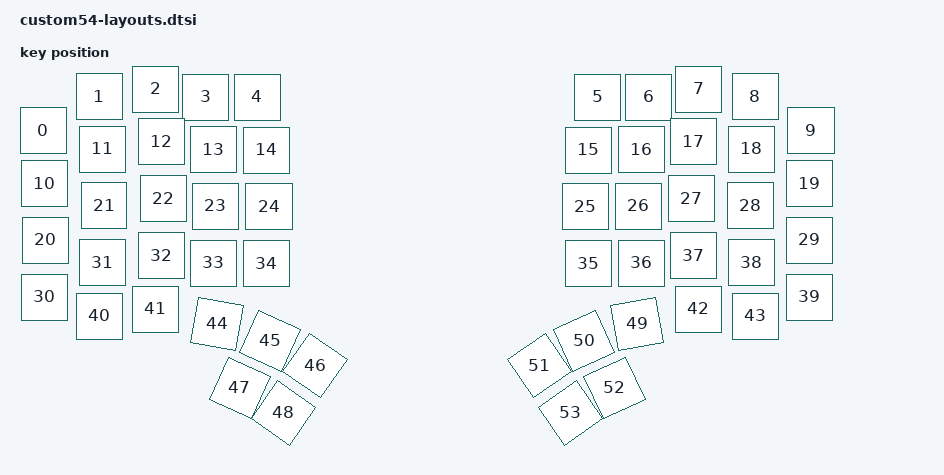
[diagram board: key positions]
#include <physical_layouts.dtsi>

/ {
    default_layout: default_layout {
        compatible = "zmk,physical-layout";
        display-name = "Default Layout";
        transform = <&default_transform>;
        kscan = <&kscan>;

        keys
            = <&key_physical_attrs 100 100    0   83       0    0    0>  /*  0: 1 */
            , <&key_physical_attrs 100 100  112   15       0    0    0>  /*  1: 2 */
            , <&key_physical_attrs 100 100  225    0       0    0    0>  /*  2: 3 */
            , <&key_physical_attrs 100 100  325   16       0    0    0>  /*  3: 4 */
            , <&key_physical_attrs 100 100  428   16       0    0    0>  /*  4: 5 */
            , <&key_physical_attrs 100 100 1109   16       0    0    0>  /*  5: 6 */
            , <&key_physical_attrs 100 100 1211   16       0    0    0>  /*  6: 7 */
            , <&key_physical_attrs 100 100 1311    0       0    0    0>  /*  7: 8 */
            , <&key_physical_attrs 100 100 1424   15       0    0    0>  /*  8: 9 */
            , <&key_physical_attrs 100 100 1536   83       0    0    0>  /*  9: 0 */
            , <&key_physical_attrs 100 100    3  189       0    0    0>  /* 10: q */
            , <&key_physical_attrs 100 100  119  120       0    0    0>  /* 11: w */
            , <&key_physical_attrs 100 100  236  105       0    0    0>  /* 12: e */
            , <&key_physical_attrs 100 100  340  121       0    0    0>  /* 13: r */
            , <&key_physical_attrs 100 100  446  122       0    0    0>  /* 14: t */
            , <&key_physical_attrs 100 100 1091  122       0    0    0>  /* 15: y */
            , <&key_physical_attrs 100 100 1196  121       0    0    0>  /* 16: u */
            , <&key_physical_attrs 100 100 1300  105       0    0    0>  /* 17: i */
            , <&key_physical_attrs 100 100 1417  120       0    0    0>  /* 18: o */
            , <&key_physical_attrs 100 100 1533  189       0    0    0>  /* 19: p */
            , <&key_physical_attrs 100 100    5  302       0    0    0>  /* 20: a */
            , <&key_physical_attrs 100 100  122  233       0    0    0>  /* 21: s */
            , <&key_physical_attrs 100 100  240  219       0    0    0>  /* 22: d */
            , <&key_physical_attrs 100 100  345  234       0    0    0>  /* 23: f */
            , <&key_physical_attrs 100 100  452  235       0    0    0>  /* 24: g */
            , <&key_physical_attrs 100 100 1084  235       0    0    0>  /* 25: h */
            , <&key_physical_attrs 100 100 1191  234       0    0    0>  /* 26: j */
            , <&key_physical_attrs 100 100 1296  219       0    0    0>  /* 27: k */
            , <&key_physical_attrs 100 100 1415  233       0    0    0>  /* 28: l */
            , <&key_physical_attrs 100 100 1532  302       0    0    0>  /* 29: ç */
            , <&key_physical_attrs 100 100    3  416       0    0    0>  /* 30: z */
            , <&key_physical_attrs 100 100  119  347       0    0    0>  /* 31: x */
            , <&key_physical_attrs 100 100  236  333       0    0    0>  /* 32: c */
            , <&key_physical_attrs 100 100  340  348       0    0    0>  /* 33: v */
            , <&key_physical_attrs 100 100  446  349       0    0    0>  /* 34: b */
            , <&key_physical_attrs 100 100 1091  349       0    0    0>  /* 35: n */
            , <&key_physical_attrs 100 100 1196  348       0    0    0>  /* 36: m */
            , <&key_physical_attrs 100 100 1300  333       0    0    0>  /* 37: , */
            , <&key_physical_attrs 100 100 1417  347       0    0    0>  /* 38: . */
            , <&key_physical_attrs 100 100 1533  416       0    0    0>  /* 39: - */
            , <&key_physical_attrs 100 100  112  454       0    0    0>  /* 40: left extra 1 */
            , <&key_physical_attrs 100 100  225  440       0    0    0>  /* 41: left extra 2 */
            , <&key_physical_attrs 100 100 1311  440       0    0    0>  /* 42: right extra 1 */
            , <&key_physical_attrs 100 100 1424  454       0    0    0>  /* 43: right extra 2 */
            , <&key_physical_attrs 100 100  348  470    1000  398  520>  /* 44: left thumb 1 */
            , <&key_physical_attrs 100 100  454  504    2500  504  554>  /* 45: left thumb 2 */
            , <&key_physical_attrs 100 100  544  553    3500  594  603>  /* 46: left thumb 3 */
            , <&key_physical_attrs 100 100  394  598    2500  444  648>  /* 47: left thumb 4 */
            , <&key_physical_attrs 100 100  481  648    3500  531  698>  /* 48: left thumb 5 */
            , <&key_physical_attrs 100 100 1188  470 (-1000) 1238  520>  /* 49: right thumb 1 */
            , <&key_physical_attrs 100 100 1082  504 (-2500) 1132  554>  /* 50: right thumb 2 */
            , <&key_physical_attrs 100 100  993  553 (-3500) 1043  603>  /* 51: right thumb 3 */
            , <&key_physical_attrs 100 100 1143  598 (-2500) 1193  648>  /* 52: right thumb 4 */
            , <&key_physical_attrs 100 100 1055  648 (-3500) 1105  698>  /* 53: right thumb 5 */
            ;
    };
};
